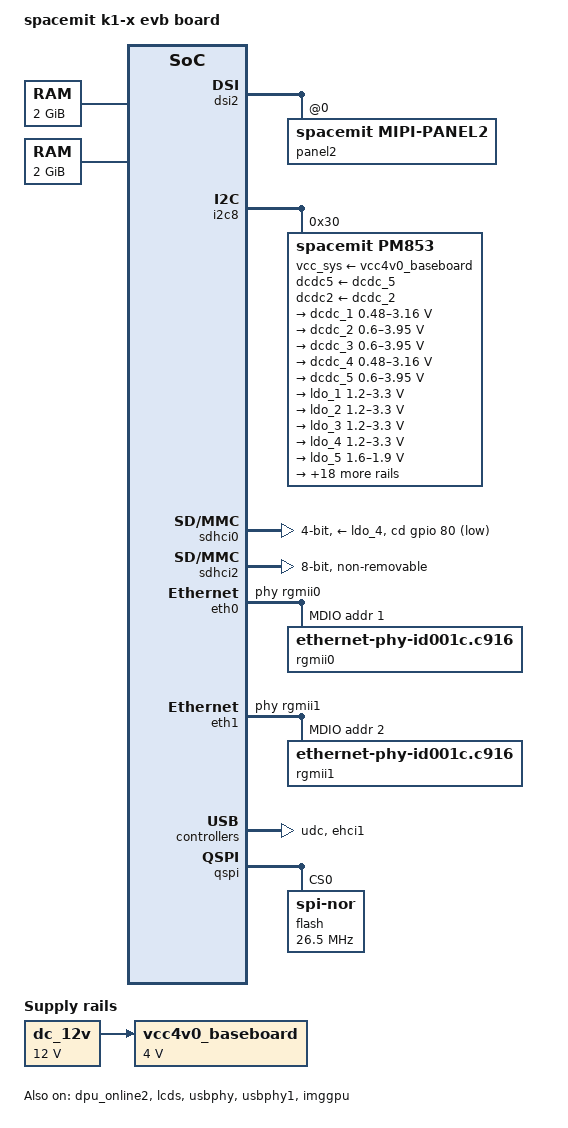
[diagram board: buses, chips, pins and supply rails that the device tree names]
// SPDX-License-Identifier: (GPL-2.0 OR MIT)
/* Copyright (c) 2023 Spacemit, Inc */

/dts-v1/;

#include "k1-x.dtsi"
#include "k1-x_pinctrl.dtsi"
#include "lcd/lcd_icnl9911c_mipi.dtsi"
/ {
	model = "spacemit k1-x evb board";

	cpus: cpus {
		#address-cells = <1>;
		#size-cells = <0>;
		timebase-frequency = <24000000>;

		cpu_0: cpu@0 {
			cpu-ai = "true";
		};

		cpu_1: cpu@1 {
			cpu-ai = "true";
		};

		cpu_2: cpu@2 {
			reg = <2>;
			cpu-ai = "true";
		};

		cpu_3: cpu@3 {
			reg = <3>;
			cpu-ai = "true";
		};

		cpu-map {
			cluster0 {
				core0 {
					cpu = <&cpu_0>;
				};

				core1 {
					cpu = <&cpu_1>;
				};

				core2 {
					cpu = <&cpu_2>;
				};

				core3 {
					cpu = <&cpu_3>;
				};
			};

			cluster1 {
				core0 {
					cpu = <&cpu_4>;
				};

				core1 {
					cpu = <&cpu_5>;
				};

				core2 {
					cpu = <&cpu_6>;
				};

				core3 {
					cpu = <&cpu_7>;
				};
			};
		};
	};

	memory@0 {
		device_type = "memory";
		reg = <0x0 0x00000000 0x0 0x80000000>;
	};

	memory@100000000 {
		device_type = "memory";
		reg = <0x1 0x00000000 0x0 0x80000000>;
	};

	reserved-memory {
		#address-cells = <2>;
		#size-cells = <2>;
		ranges;

		linux,cma@70000000 {
			compatible = "shared-dma-pool";
			/* alloc memory from 0x60000000~0x80000000 */
			alloc-ranges = <0 0x60000000 0 0x20000000>;
			/* size of cma buffer is 256MByte */
			size = <0 0x10000000>;
			/* start address is 1Mbyte aligned */
			alignment = <0x0 0x100000>;
			linux,cma-default;
			/* besides hardware, dma for ex. buffer can be used by memory management */
			reusable;
		};

		/* reserved 384K for dpu, including mmu table(256K) and cmdlist(128K) */
		dpu_resv: dpu_reserved@27000000 {
			compatible = "shared-dma-pool";
			reg = <0x0 0x27000000 0x0 0x00060000>;
			no-map;
		};
	};

	chosen {
		bootargs = "earlycon=sbi console=ttyS0,115200n8 debug loglevel=8,initcall_debug=1 clk_ignore_unused rdinit=/init.tmp";
		stdout-path = "serial0:115200n8";
	};

	dc_12v: dc-12v {
		compatible = "regulator-fixed";
		regulator-name = "dc_12v";
		regulator-always-on;
		regulator-boot-on;
		regulator-min-microvolt = <12000000>;
		regulator-max-microvolt = <12000000>;
	};

        vcc4v0_baseboard: vcc4v0-baseboard {
		compatible = "regulator-fixed";
		regulator-name = "vcc4v0_baseboard";
		regulator-always-on;
		regulator-boot-on;
		regulator-min-microvolt = <4000000>;
		regulator-max-microvolt = <4000000>;
		vin-supply = <&dc_12v>;
	};
};

&dpu_online2 {
	memory-region = <&dpu_resv>;
	lcd_2v8-supply = <&ldo_13>;
	lcd_1v8-supply = <&ldo_15>;
	dsi_1v2-supply = <&ldo_17>;
	vin-supply-names = "lcd_2v8", "lcd_1v8", "dsi_1v2";
	status = "okay";
};

&dsi2 {
	status = "okay";

	panel2: panel2@0 {
		status = "ok";
		compatible = "spacemit,mipi-panel2";
		reg = <0>;

		gpios-te = <91>;
		gpios-bl = <23>;
		gpios-reset = <24>;
		gpios-dc = <21 22>;
		id = <2>;
		force-attached = "lcd_icnl9911c_mipi";
	};
};

&lcds {
	status = "ok";
};

&i2c8 {
	#address-cells = <1>;
	#size-cells = <0>;

	pm853: pmic@30 {
		compatible = "spacemit,pm853";
		reg = <0x30>;

		vcc_sys-supply = <&vcc4v0_baseboard>;
		dcdc5-supply = <&dcdc_5>;
		dcdc2-supply = <&dcdc_2>;

		regulators {
			/* buck */
			dcdc_1: DCDC_REG1 {
				regulator-name = "dcdc1";
				regulator-min-microvolt = <480000>;
				regulator-max-microvolt = <3160000>;
				regulator-always-on;
			};

			dcdc_2: DCDC_REG2 {
				regulator-name = "dcdc2";
				regulator-min-microvolt = <600000>;
				regulator-max-microvolt = <3950000>;
				regulator-always-on;
			};

			dcdc_3: DCDC_REG3 {
				regulator-name = "dcdc3";
				regulator-min-microvolt = <600000>;
				regulator-max-microvolt = <3950000>;
			};

			dcdc_4: DCDC_REG4 {
				regulator-name = "dcdc4";
				regulator-min-microvolt = <480000>;
				regulator-max-microvolt = <3160000>;
				regulator-always-on;
			};

			dcdc_5: DCDC_REG5 {
				regulator-name = "dcdc5";
				regulator-min-microvolt = <600000>;
				regulator-max-microvolt = <3950000>;
				regulator-always-on;
			};

			/* ldo */
			ldo_1: LDO_REG1 {
				regulator-name = "ldo1";
				regulator-min-microvolt = <1200000>;
				regulator-max-microvolt = <3300000>;
			};

			ldo_2: LDO_REG2 {
				regulator-name = "ldo2";
				regulator-min-microvolt = <1200000>;
				regulator-max-microvolt = <3300000>;
				regulator-always-on;
			};

			ldo_3: LDO_REG3 {
				regulator-name = "ldo3";
				regulator-min-microvolt = <1200000>;
				regulator-max-microvolt = <3300000>;
			};

			ldo_4: LDO_REG4 {
				regulator-name = "ldo4";
				regulator-min-microvolt = <1200000>;
				regulator-max-microvolt = <3300000>;
			};

			ldo_5: LDO_REG5 {
				regulator-name = "ldo5";
				regulator-min-microvolt = <1600000>;
				regulator-max-microvolt = <1900000>;
				regulator-always-on;
			};

			ldo_6: LDO_REG6 {
				regulator-name = "ldo6";
				regulator-min-microvolt = <1200000>;
				regulator-max-microvolt = <3300000>;
			};

			ldo_7: LDO_REG7 {
				regulator-name = "ldo7";
				regulator-min-microvolt = <1200000>;
				regulator-max-microvolt = <1950000>;
				regulator-always-on;
			};

			ldo_8: LDO_REG8 {
				regulator-name = "ldo8";
				regulator-min-microvolt = <1200000>;
				regulator-max-microvolt = <3300000>;
			};

			ldo_9: LDO_REG9 {
				regulator-name = "ldo9";
				regulator-min-microvolt = <1200000>;
				regulator-max-microvolt = <3300000>;
				regulator-always-on;
			};

			ldo_10: LDO_REG10 {
				regulator-name = "ldo10";
				regulator-min-microvolt = <1200000>;
				regulator-max-microvolt = <3300000>;
			};

			ldo_11: LDO_REG11 {
				regulator-name = "ldo11";
				regulator-min-microvolt = <1200000>;
				regulator-max-microvolt = <1950000>;
			};

			ldo_12: LDO_REG12 {
				regulator-name = "ldo12";
				regulator-min-microvolt = <1200000>;
				regulator-max-microvolt = <3300000>;
			};

			ldo_13: LDO_REG13 {
				regulator-name = "ldo13";
				regulator-min-microvolt = <1200000>;
				regulator-max-microvolt = <3300000>;
			};

			ldo_14: LDO_REG14 {
				regulator-name = "ldo14";
				regulator-min-microvolt = <1200000>;
				regulator-max-microvolt = <3300000>;
				regulator-always-on;
			};

			ldo_15: LDO_REG15 {
				regulator-name = "ldo15";
				regulator-min-microvolt = <1200000>;
				regulator-max-microvolt = <1950000>;
			};

			ldo_16: LDO_REG16 {
				regulator-name = "ldo16";
				regulator-min-microvolt = <1200000>;
				regulator-max-microvolt = <3300000>;
			};

			ldo_17: LDO_REG17 {
				regulator-name = "ldo17";
				regulator-min-microvolt = <100000>;
				regulator-max-microvolt = <1350000>;
			};

			ldo_18: LDO_REG18 {
				regulator-name = "ldo18";
				regulator-min-microvolt = <1200000>;
				regulator-max-microvolt = <1950000>;
				regulator-always-on;
			};

			ldo_19: LDO_REG19 {
				regulator-name = "ldo19";
				regulator-min-microvolt = <100000>;
				regulator-max-microvolt = <1350000>;
				regulator-always-on;
			};

			ldo_20: LDO_REG20 {
				regulator-name = "ldo20";
				regulator-min-microvolt = <100000>;
				regulator-max-microvolt = <1350000>;
			};

			ldo_21: LDO_REG21 {
				regulator-name = "ldo21";
				regulator-min-microvolt = <1200000>;
				regulator-max-microvolt = <1950000>;
			};

			ldo_22: LDO_REG22 {
				regulator-name = "ldo22";
				regulator-min-microvolt = <100000>;
				regulator-max-microvolt = <1350000>;
			};

			sw_1: SWITCH_REG1 {
				regulator-name = "switch1";
			};
		};
	};
};

&pinctrl {
	usbp1_vbus: usbp1_vbus {
		pinctrl-single,pins =<
			K1X_PADCONF(GPIO_66, MUX_MODE0, (EDGE_NONE | PULL_UP | PAD_1V8_DS2))    /* drive_vbus1_iso */
		>;
	};

	gpio80_pmx_func0: gpio80_pmx_func0 {
		pinctrl-single,pins = <
			K1X_PADCONF(GPIO_80, MUX_MODE0, (EDGE_BOTH | PULL_UP | PAD_3V_DS4))  /* mmc cd */
		>;
	};

	pinctrl_qspi: qspi_grp {
		pinctrl-single,pins = <
			K1X_PADCONF(QSPI_DAT3, MUX_MODE0, (EDGE_NONE | PULL_DOWN | PAD_1V8_DS2))        /* qspi_d3 */
			K1X_PADCONF(QSPI_DAT2, MUX_MODE0, (EDGE_NONE | PULL_DOWN | PAD_1V8_DS2))        /* qspi_d2 */
			K1X_PADCONF(QSPI_DAT1, MUX_MODE0, (EDGE_NONE | PULL_DOWN | PAD_1V8_DS2))        /* qspi_d1 */
			K1X_PADCONF(QSPI_DAT0, MUX_MODE0, (EDGE_NONE | PULL_DOWN | PAD_1V8_DS2))        /* qspi_d1 */
			K1X_PADCONF(QSPI_CLK,  MUX_MODE0, (EDGE_NONE | PULL_DOWN | PAD_1V8_DS2))        /* qspi_clk */
			K1X_PADCONF(QSPI_CSI,  MUX_MODE0, (EDGE_NONE | PULL_UP | PAD_1V8_DS2))          /* qspi_csi */
		>;
	};
};

&sdhci0 {
	pinctrl-names = "default","fast";
	pinctrl-0 = <&pinctrl_mmc1 &gpio80_pmx_func0>;
	pinctrl-1 = <&pinctrl_mmc1_fast &gpio80_pmx_func0>;
	bus-width = <4>;
	cd-gpios = <&gpio 80 0>;
	cd-inverted;
	vmmc-supply = <&ldo_4>;
	vqmmc-supply = <&ldo_9>;
	no-mmc;
	no-sdio;
	spacemit,sdh-host-caps-disable = <(
			MMC_CAP_UHS_SDR12 |
			MMC_CAP_UHS_SDR25
			)>;
	spacemit,sdh-quirks = <(
			SDHCI_QUIRK_BROKEN_CARD_DETECTION |
			SDHCI_QUIRK_INVERTED_WRITE_PROTECT |
			SDHCI_QUIRK_BROKEN_TIMEOUT_VAL
			)>;
	spacemit,sdh-quirks2 = <(
			SDHCI_QUIRK2_PRESET_VALUE_BROKEN |
			SDHCI_QUIRK2_BROKEN_PHY_MODULE |
			SDHCI_QUIRK2_SET_AIB_MMC
			)>;
	spacemit,aib_mmc1_io_reg = <0xD401E81C>;
	spacemit,apbc_asfar_reg = <0xD4015050>;
	spacemit,apbc_assar_reg = <0xD4015054>;
	spacemit,rx_dline_reg = <0x0>;
	spacemit,tx_dline_reg = <0x0>;
	//spacemit,tx_delaycode = <0xA0>;
	spacemit,rx_tuning_limit = <50>;
	spacemit,sdh-freq = <204800000>;
	status = "okay";
};

/* eMMC */
&sdhci2 {
	bus-width = <8>;
	non-removable;
	mmc-hs400-1_8v;
	mmc-hs400-enhanced-strobe;
	no-sd;
	no-sdio;
	spacemit,sdh-quirks = <(
			SDHCI_QUIRK_BROKEN_CARD_DETECTION |
			SDHCI_QUIRK_BROKEN_TIMEOUT_VAL
			)>;
	spacemit,sdh-quirks2 = <(
			SDHCI_QUIRK2_PRESET_VALUE_BROKEN
			)>;
	spacemit,sdh-freq = <375000000>;
	status = "okay";
};

&eth0 {
        pinctrl-names = "default";
        pinctrl-0 = <&pinctrl_gmac0>;

        emac,reset-gpio = <&gpio 44 0>;
        emac,reset-active-low;
        emac,reset-delays-us = <0 10000 100000>;

        /* store forward mode */
        tx-threshold = <1518>;
        rx-threshold = <12>;
        tx-ring-num = <128>;
        rx-ring-num = <128>;
        dma-burst-len = <5>;

        ref-clock-from-phy;

        clk-tuning-enable;
        clk-tuning-by-delayline;
        tx-phase = <20>;
        rx-phase = <0>;

        phy-handle = <&rgmii0>;

        status = "okay";

        mdio-bus {
                #address-cells = <0x1>;
                #size-cells = <0x0>;
                rgmii0: phy@0 {
                        compatible = "ethernet-phy-id001c.c916";
                        device_type = "ethernet-phy";
                        reg = <0x1>;
                        phy-mode = "rgmii";
                };
        };
};

&eth1 {
        pinctrl-names = "default";
        pinctrl-0 = <&pinctrl_gmac1>;

        emac,reset-gpio = <&gpio 117 0>;
        emac,reset-active-low;
        emac,reset-delays-us = <0 10000 100000>;

        /* store forward mode */
        tx-threshold = <1518>;
        rx-threshold = <12>;
        tx-ring-num = <128>;
        rx-ring-num = <128>;
        dma-burst-len = <5>;

        ref-clock-from-phy;

        clk-tuning-enable;
        clk-tuning-by-delayline;
        tx-phase = <20>;
        rx-phase = <0>;

        phy-handle = <&rgmii1>;

        status = "okay";

        mdio-bus {
                #address-cells = <0x1>;
                #size-cells = <0x0>;
	        rgmii1: phy@1 {
			compatible = "ethernet-phy-id001c.c916";
                        device_type = "ethernet-phy";
                        reg = <0x2>;
                        phy-mode = "rgmii";
                };
        };
};

&usbphy {
	status = "okay";
};

&udc {
	/*spacemit,udc-mode = <MV_USB_MODE_OTG>;
	spacemit,extern-attr = <MV_USB_HAS_VBUS_IDPIN_DETECTION>;*/
	spacemit,udc-mode = <MV_USB_MODE_UDC>;
	status = "okay";
};

&usbphy1 {
	pinctrl-names = "default";
	pinctrl-0 = <&usbp1_vbus>;
	status = "okay";
};

&ehci1 {
	status = "okay";
};

&usbdrd3 {
	status = "disabled";
	dwc3@c0a00000 {
		maximum-speed = "high-speed";
		dr_mode = "peripheral";
		phy_type = "utmi_wide";
		snps,dis_enblslpm_quirk;
	};
};

&pcie0_rc {
	status = "disabled";
};

&imggpu {
	status = "okay";
};

&qspi {
	status = "okay";
	pinctrl-names = "default";
	pinctrl-0 = <&pinctrl_qspi>;

	flash@0 {
		compatible = "jedec,spi-nor";
		reg = <0>;
		spi-max-frequency = <26500000>;
		m25p,fast-read;
		broken-flash-reset;
		status = "okay";
	};
};
